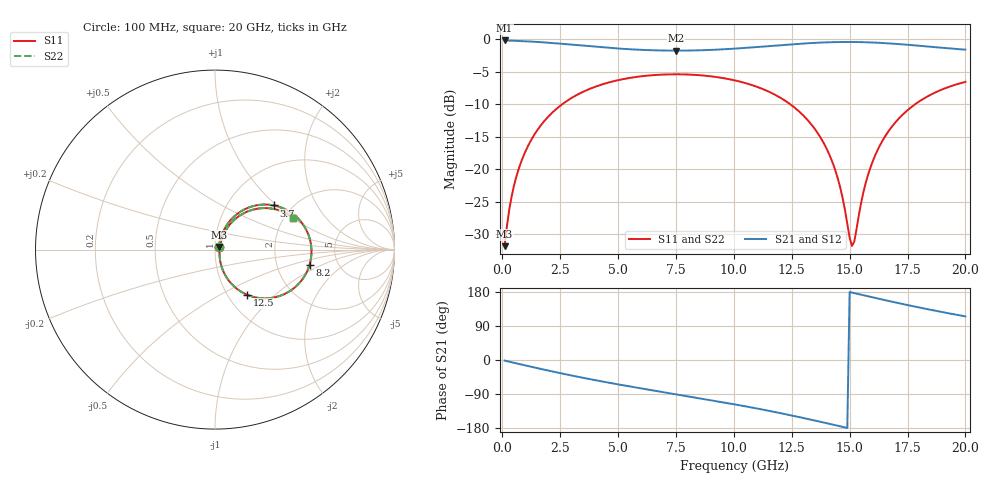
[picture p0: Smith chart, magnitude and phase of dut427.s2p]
! Touchstone file exported from HFSS 2026.1.0
!  File:  C:/ffzhzh/LocalFiles/Ansys_Project_Files/temp_train_TSV_RDL_427_1783096584_50312.aedt
!  Generated:  12:49:39 AM Jul  4, 2026
!  Design:  TSV_RDL
!  Project:  temp_train_TSV_RDL_427_1783096584_50312
! Variables:
!  h_bsmrdl = 3.12um
!  h_ox = 20um
!  h_rdl = 5um
!  h_sub = 71.17um
!  h_tmrdl = 3.24um
!  h_tsv = 71.17um
!  h_via = 3um
!  l_bsmrdl = 691.3um
!  l_sub = 4131.26um
!  l_tmrdl = 379.9um
!  m_sub = 200um
!  pitch = 47.34um
!  r_tsv = 6.31um
!  s_tmrdl = 10um
!  w_bsmrdl = 18.44um
!  w_sub = 500um
!  w_tmrdl = 27.48um
!  x_tsv_center1 = 393.64um
!  x_tsv_center2 = 1103.38um
!  x_tsv_center3 = 1510.76um
!  x_tsv_center4 = 2220.5um
!  x_tsv_center5 = 2627.88um
!  x_tsv_center6 = 3337.62um
# GHz S MA R 50.000000
! Terminal data exported
! Port[1] = TM_RDL1_1_T1
! Port[2] = TM_RDL5_1_T1
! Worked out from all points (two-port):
!   200 points, 100 MHz to 20 GHz, reference 50 ohm
!   highest |S21| = -0.18 dB at 100 MHz (marker M1); lowest = -1.7 dB at 7.5 GHz (marker M2)
!   |S21| within 3 dB of the highest: start of sweep to end of sweep
!   lowest |S11| = -31.8 dB at 100 MHz (marker M3), VSWR 1.05, Z = 52.1 + j1.5 ohm
!   |S11| at or under -10 dB: start of sweep to 2.586 GHz; 12.44 GHz to 17.83 GHz (5.391 GHz wide, 35.6 % of centre)
!   |S22| runs from -31.8 to -5.4 dB; largest |S21 - S12| = 2.2e-14
!   S11 on the Smith chart (normalised r, x): 100 MHz: 1.04, +0.03; 3.7 GHz: 1.62, +0.96; 8.2 GHz: 3.10, -0.73; 12.5 GHz: 1.23, -0.69; 20 GHz: 2.23, +1.01
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0.1  0.02565 34.0  0.979 -1.5  0.979 -1.5  0.02565 34.0
! Gamma 0 0 0 0
! Port Impedance 50 0 50 0
0.3  0.04885 58.1  0.9766 -4.5  0.9766 -4.5  0.04885 58.1
0.5  0.07419 63.9  0.9735 -7.4  0.9735 -7.4  0.07419 63.9
1.1  0.1498 64.4  0.963 -15.8  0.963 -15.8  0.1498 64.4
2.1  0.2665 54.9  0.9375 -29.4  0.9375 -29.4  0.2665 55.0
3.5  0.3953 39.1  0.8923 -47.1  0.8923 -47.1  0.3953 39.1
3.7  0.4101 36.9  0.8858 -49.5  0.8858 -49.5  0.41 36.9
6.8  0.5337 4.7  0.8202 -83.3  0.8202 -83.3  0.5337 4.7
7.5  0.5377 -2.2  0.8176 -90.4  0.8176 -90.4  0.5377 -2.1
8.2  0.5337 -9.0  0.8198 -97.6  0.8198 -97.6  0.5337 -9.0
10.1  0.4801 -28.2  0.8486 -117.8  0.8486 -117.8  0.4801 -28.2
12.5  0.3102 -54.5  0.9144 -146.5  0.9144 -146.5  0.3102 -54.4
13.4  0.2154 -64.0  0.9365 -158.4  0.9365 -158.4  0.2154 -63.9
14.4  0.09597 -68.8  0.9512 -172.2  0.9512 -172.2  0.09603 -68.6
14.7  0.05988 -63.1  0.9529 -176.5  0.9529 -176.5  0.05999 -62.8
15.1  0.02577 -9.2  0.9529 177.9  0.9529 177.9  0.02602 -9.2
15.2  0.02775 17.1  0.9526 176.5  0.9526 176.5  0.02799 16.9
15.5  0.05556 53.1  0.9505 172.2  0.9505 172.2  0.05568 52.9
15.8  0.09124 60.1  0.947 168.0  0.947 168.0  0.09131 60.0
16.7  0.1985 57.0  0.9295 155.6  0.9295 155.6  0.1986 57.0
18.1  0.341 42.4  0.8884 137.4  0.8884 137.4  0.341 42.4
20  0.4702 22.1  0.8317 115.1  0.8317 115.1  0.4701 22.1
